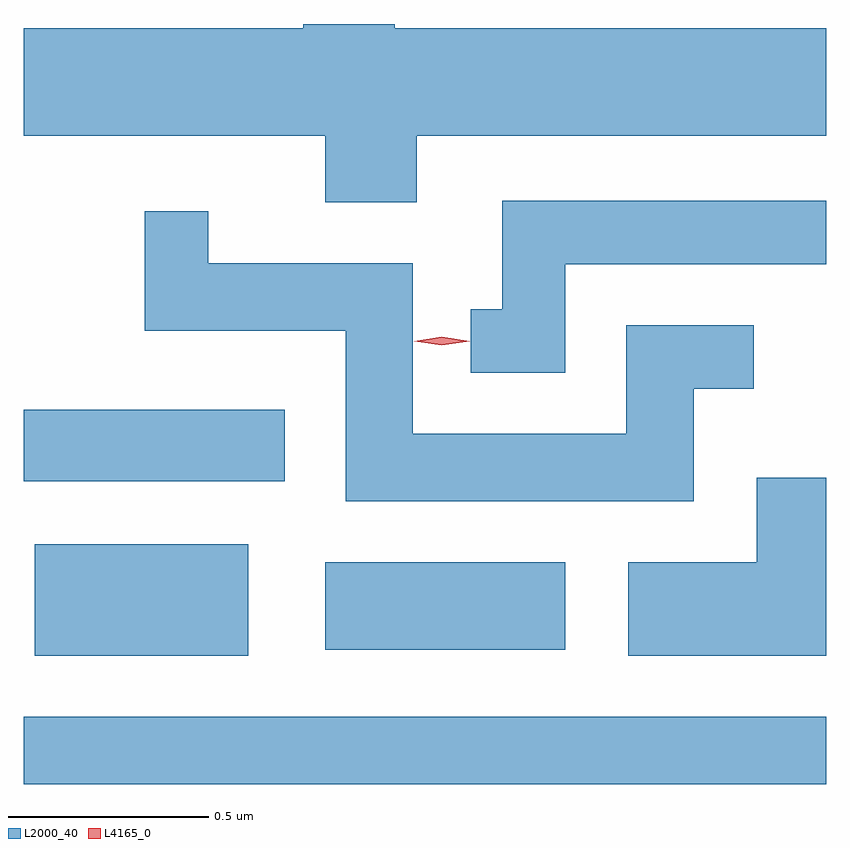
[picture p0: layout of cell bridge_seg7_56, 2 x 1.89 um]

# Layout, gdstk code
import gdstk
lib = gdstk.Library(unit=1e-6, precision=1e-09)
def R(c, l, rs):  # rectangles x0, y0, x1, y1
    for r in rs: c.add(gdstk.rectangle(r[:2], r[2:], *l))
def P(c, l, *ps):  # polygons
    for p in ps: c.add(gdstk.Polygon(p, *l))
L2000_40 = (2000, 40)
L4165_0 = (4165, 0)

bridge_seg7_56 = lib.new_cell('bridge_seg7_56')
R(bridge_seg7_56, L2000_40, [(1597.559,1752.661,1599.559,1752.829), (1597.586,1752.981,1598.119,1753.259), (1598.311,1752.996,1598.909,1753.214), (1597.559,1753.416,1598.209,1753.594)])
P(bridge_seg7_56, L2000_40, [(1598.539,1754.276),(1599.559,1754.276),(1599.559,1754.544),(1598.484,1754.544),(1598.484,1754.555),(1598.256,1754.555),(1598.256,1754.544),(1597.559,1754.544),(1597.559,1754.276),(1598.311,1754.276),(1598.311,1754.111),(1598.539,1754.111)],
  [(1598.909,1753.956),(1599.559,1753.956),(1599.559,1754.114),(1598.751,1754.114),(1598.751,1753.844),(1598.673,1753.844),(1598.673,1753.686),(1598.909,1753.686)],
  [(1599.229,1753.646),(1599.378,1753.646),(1599.378,1753.804),(1599.061,1753.804),(1599.061,1753.534),(1598.529,1753.534),(1598.529,1753.959),(1598.019,1753.959),(1598.019,1754.088),(1597.861,1754.088),(1597.861,1753.791),(1598.361,1753.791),(1598.361,1753.366),(1599.229,1753.366)],
  [(1599.559,1753.424),(1599.386,1753.424),(1599.386,1753.214),(1599.066,1753.214),(1599.066,1752.981),(1599.559,1752.981)])
P(bridge_seg7_56, L4165_0, [(1598.601,1753.755),(1598.532,1753.764),(1598.532,1753.765),(1598.532,1753.765),(1598.601,1753.775),(1598.671,1753.765),(1598.671,1753.765),(1598.671,1753.764)])

lib.write_gds('bridge_seg7_56.gds')
